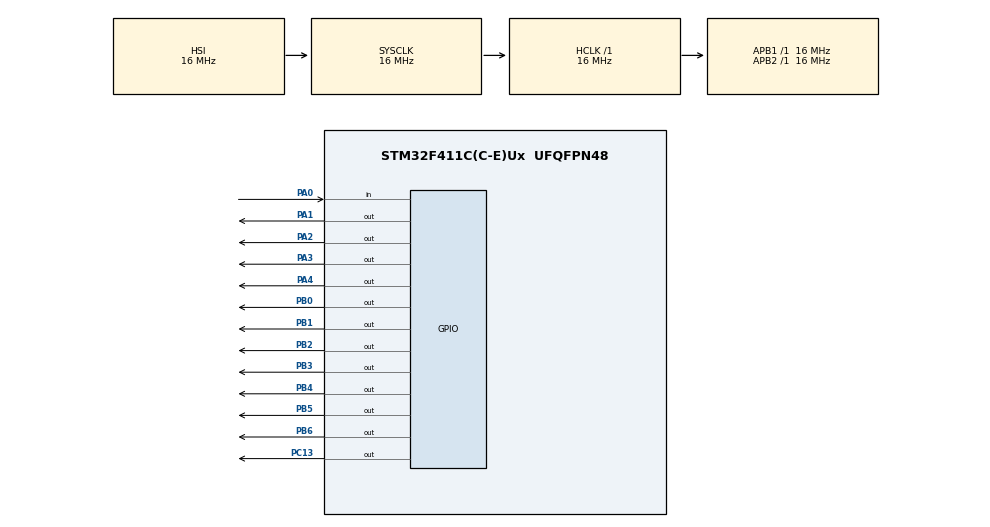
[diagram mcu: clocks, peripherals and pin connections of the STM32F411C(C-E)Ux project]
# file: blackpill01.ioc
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FREERTOS.Tasks01=defaultTask,24,128,StartDefaultTask,Default,NULL,Dynamic,NULL,NULL;readKey,16,128,StartReadKey,Default,NULL,Dynamic,NULL,NULL
FREERTOS.configUSE_NEWLIB_REENTRANT=1
Mcu.Family=STM32F4
Mcu.Name=STM32F411C(C-E)Ux
Mcu.Package=UFQFPN48
NVIC.PriorityGroup=NVIC_PRIORITYGROUP_4
PA0-WKUP.Signal=GPIO_Input
PA1.Signal=GPIO_Output
PA2.Signal=GPIO_Output
PA3.Signal=GPIO_Output
PA4.Signal=GPIO_Output
PB0.Signal=GPIO_Output
PB1.Signal=GPIO_Output
PB2.Signal=GPIO_Output
PB3.Signal=GPIO_Output
PB4.Signal=GPIO_Output
PB5.Signal=GPIO_Output
PB6.Signal=GPIO_Output
PC13-ANTI_TAMP.Signal=GPIO_Output
PC14-OSC32_IN.Mode=LSE-External-Oscillator
PC14-OSC32_IN.Signal=RCC_OSC32_IN
PC15-OSC32_OUT.Mode=LSE-External-Oscillator
PC15-OSC32_OUT.Signal=RCC_OSC32_OUT
PH0\ -\ OSC_IN.Mode=HSE-External-Oscillator
PH0\ -\ OSC_IN.Signal=RCC_OSC_IN
PH1\ -\ OSC_OUT.Mode=HSE-External-Oscillator
PH1\ -\ OSC_OUT.Signal=RCC_OSC_OUT
ProjectManager.HeapSize=0x200
ProjectManager.StackSize=0x400
ProjectManager.TargetToolchain=STM32CubeIDE
RCC.AHBFreq_Value=16000000
RCC.APB1Freq_Value=16000000
RCC.APB2Freq_Value=16000000
RCC.CortexFreq_Value=16000000
RCC.HSE_VALUE=25000000
RCC.HSI_VALUE=16000000
RCC.SYSCLKFreq_VALUE=16000000
RCC.VCOOutputFreq_Value=192000000
VP_FREERTOS_VS_CMSIS_V2.Mode=CMSIS_V2
board=custom

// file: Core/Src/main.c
/* USER CODE BEGIN Header */
/**
  ******************************************************************************
  * @file           : main.c
  * @brief          : Main program body
  ******************************************************************************
  * @attention
  *
  * Copyright (c) 2023 STMicroelectronics.
  * All rights reserved.
  *
  * This software is licensed under terms that can be found in the LICENSE file
  * in the root directory of this software component.
  * If no LICENSE file comes with this software, it is provided AS-IS.
  *
  ******************************************************************************
  */
/* USER CODE END Header */
#include "main.h"
#include "cmsis_os.h"

/* USER CODE BEGIN Includes */

#include <math.h>

/* USER CODE END Includes */

/* Definitions for defaultTask */
osThreadId_t defaultTaskHandle;
const osThreadAttr_t defaultTask_attributes = {
  .name = "defaultTask",
  .stack_size = 128 * 4,
  .priority = (osPriority_t) osPriorityNormal,
};
/* Definitions for readKey */
osThreadId_t readKeyHandle;
const osThreadAttr_t readKey_attributes = {
  .name = "readKey",
  .stack_size = 128 * 4,
  .priority = (osPriority_t) osPriorityBelowNormal,
};
/* USER CODE BEGIN PV */

int prev_value = 1;
int cur_value = 0;

/* USER CODE END PV */

void SystemClock_Config(void);
static void MX_GPIO_Init(void);
void StartDefaultTask(void *argument);
void StartReadKey(void *argument);

int main(void)
{

  /* MCU Configuration--------------------------------------------------------*/

  /* Reset of all peripherals, Initializes the Flash interface and the Systick. */
  HAL_Init();

  /* Configure the system clock */
  SystemClock_Config();

  /* Initialize all configured peripherals */
  MX_GPIO_Init();

  /* Init scheduler */
  osKernelInitialize();

  /* Create the thread(s) */
  /* creation of defaultTask */
  defaultTaskHandle = osThreadNew(StartDefaultTask, NULL, &defaultTask_attributes);

  /* creation of readKey */
  readKeyHandle = osThreadNew(StartReadKey, NULL, &readKey_attributes);

  /* Start scheduler */
  osKernelStart();

  /* We should never get here as control is now taken by the scheduler */
  /* Infinite loop */
  while (1)
  {

  }
}

void SystemClock_Config(void)
{
  RCC_OscInitTypeDef RCC_OscInitStruct = {0};
  RCC_ClkInitTypeDef RCC_ClkInitStruct = {0};

  /** Configure the main internal regulator output voltage
  */
  __HAL_RCC_PWR_CLK_ENABLE();
  __HAL_PWR_VOLTAGESCALING_CONFIG(PWR_REGULATOR_VOLTAGE_SCALE1);

  /** Initializes the RCC Oscillators according to the specified parameters
  * in the RCC_OscInitTypeDef structure.
  */
  RCC_OscInitStruct.OscillatorType = RCC_OSCILLATORTYPE_HSI;
  RCC_OscInitStruct.HSIState = RCC_HSI_ON;
  RCC_OscInitStruct.HSICalibrationValue = RCC_HSICALIBRATION_DEFAULT;
  RCC_OscInitStruct.PLL.PLLState = RCC_PLL_NONE;
  if (HAL_RCC_OscConfig(&RCC_OscInitStruct) != HAL_OK)
  {
    Error_Handler();
  }

  /** Initializes the CPU, AHB and APB buses clocks
  */
  RCC_ClkInitStruct.ClockType = RCC_CLOCKTYPE_HCLK|RCC_CLOCKTYPE_SYSCLK
                              |RCC_CLOCKTYPE_PCLK1|RCC_CLOCKTYPE_PCLK2;
  RCC_ClkInitStruct.SYSCLKSource = RCC_SYSCLKSOURCE_HSI;
  RCC_ClkInitStruct.AHBCLKDivider = RCC_SYSCLK_DIV1;
  RCC_ClkInitStruct.APB1CLKDivider = RCC_HCLK_DIV1;
  RCC_ClkInitStruct.APB2CLKDivider = RCC_HCLK_DIV1;

  if (HAL_RCC_ClockConfig(&RCC_ClkInitStruct, FLASH_LATENCY_0) != HAL_OK)
  {
    Error_Handler();
  }
}

static void MX_GPIO_Init(void)
{
  GPIO_InitTypeDef GPIO_InitStruct = {0};

  /* GPIO Ports Clock Enable */
  __HAL_RCC_GPIOC_CLK_ENABLE();
  __HAL_RCC_GPIOH_CLK_ENABLE();
  __HAL_RCC_GPIOA_CLK_ENABLE();
  __HAL_RCC_GPIOB_CLK_ENABLE();

  /*Configure GPIO pin Output Level */
  HAL_GPIO_WritePin(GPIOC, GPIO_PIN_13, GPIO_PIN_RESET);

  /*Configure GPIO pin Output Level */
  HAL_GPIO_WritePin(GPIOA, GPIO_PIN_1|GPIO_PIN_2|GPIO_PIN_3|GPIO_PIN_4, GPIO_PIN_RESET);

  /*Configure GPIO pin Output Level */
  HAL_GPIO_WritePin(GPIOB, GPIO_PIN_0|GPIO_PIN_1|GPIO_PIN_2|GPIO_PIN_3
                          |GPIO_PIN_4|GPIO_PIN_5|GPIO_PIN_6, GPIO_PIN_RESET);

  /*Configure GPIO pin : PC13 */
  GPIO_InitStruct.Pin = GPIO_PIN_13;
  GPIO_InitStruct.Mode = GPIO_MODE_OUTPUT_PP;
  GPIO_InitStruct.Pull = GPIO_NOPULL;
  GPIO_InitStruct.Speed = GPIO_SPEED_FREQ_LOW;
  HAL_GPIO_Init(GPIOC, &GPIO_InitStruct);

  /*Configure GPIO pin : PA0 */
  GPIO_InitStruct.Pin = GPIO_PIN_0;
  GPIO_InitStruct.Mode = GPIO_MODE_INPUT;
  GPIO_InitStruct.Pull = GPIO_NOPULL;
  HAL_GPIO_Init(GPIOA, &GPIO_InitStruct);

  /*Configure GPIO pins : PA1 PA2 PA3 PA4 */
  GPIO_InitStruct.Pin = GPIO_PIN_1|GPIO_PIN_2|GPIO_PIN_3|GPIO_PIN_4;
  GPIO_InitStruct.Mode = GPIO_MODE_OUTPUT_PP;
  GPIO_InitStruct.Pull = GPIO_NOPULL;
  GPIO_InitStruct.Speed = GPIO_SPEED_FREQ_LOW;
  HAL_GPIO_Init(GPIOA, &GPIO_InitStruct);

  /*Configure GPIO pins : PB0 PB1 PB2 PB3
                           PB4 PB5 PB6 */
  GPIO_InitStruct.Pin = GPIO_PIN_0|GPIO_PIN_1|GPIO_PIN_2|GPIO_PIN_3
                          |GPIO_PIN_4|GPIO_PIN_5|GPIO_PIN_6;
  GPIO_InitStruct.Mode = GPIO_MODE_OUTPUT_PP;
  GPIO_InitStruct.Pull = GPIO_NOPULL;
  GPIO_InitStruct.Speed = GPIO_SPEED_FREQ_LOW;
  HAL_GPIO_Init(GPIOB, &GPIO_InitStruct);

}

/* USER CODE BEGIN 4 */

void Write_Digit(int place, int digit) {
    int segment_index[] = {
        GPIO_PIN_0,
        GPIO_PIN_1,
        GPIO_PIN_2,
        GPIO_PIN_3,
        GPIO_PIN_4,
        GPIO_PIN_5,
        GPIO_PIN_6,
        GPIO_PIN_7,
        GPIO_PIN_8,
        GPIO_PIN_9
    };

    int place_index[] = {GPIO_PIN_1, GPIO_PIN_2, GPIO_PIN_3, GPIO_PIN_4};  // A1 to A4

    // select no digits first, so we can setup the segments and avoid bleed
    for (int p = 0; p < 4; p++)
        HAL_GPIO_WritePin(GPIOA, place_index[p], 0);

    int segment[10][7] = {
        { 1, 1, 1, 1, 1, 1, 0 },  // 0
        { 0, 1, 1, 0, 0, 0, 0 },  // 1
        { 1, 1, 0, 1, 1, 0, 1 },  // 2
        { 1, 1, 1, 1, 0, 0, 1 },  // 3
        { 0, 1, 1, 0, 0, 1, 1 },  // 4
        { 1, 0, 1, 1, 0, 1, 1 },  // 5
        { 1, 0, 1, 1, 1, 1, 1 },  // 6
        { 1, 1, 1, 0, 0, 0, 0 },  // 7
        { 1, 1, 1, 1, 1, 1, 1 },  // 8
        { 1, 1, 1, 0, 0, 1, 1 }   // 9
    };

    for (int s = 0; s < 10; s++) {
        HAL_GPIO_WritePin(GPIOB, segment_index[s], !segment[digit][s]);
    }

    // select digit for writing
    HAL_GPIO_WritePin(GPIOA, place_index[place], 1);

    HAL_Delay(2);  // 10 is too much, 4 works, 6 flickers, 5 tiny flicker
}

void LED_Show(int x) {
    for (double d = 0; d < 4; d++) {
        double pp = pow(10, d);

        int digit = (x / (int)(pp)) % 10;

        Write_Digit(3 - d, digit);
    }
}

/* USER CODE END 4 */

void StartDefaultTask(void *argument)
{
  /* USER CODE BEGIN 5 */
    /* Infinite loop */
    HAL_GPIO_TogglePin(GPIOC, GPIO_PIN_13);

    for(;;) {
        if (cur_value > 9999) {
            // reset
            prev_value = 1;
            cur_value = 0;
        }
        LED_Show(cur_value);
        osDelay(1);  // required to cede control so that other tasks may run (2 works)
    }
  /* USER CODE END 5 */
}

void StartReadKey(void *argument)
{
  /* USER CODE BEGIN StartReadKey */
  /* Infinite loop */
  for(;;) {
    HAL_Delay(100);  // 10 too short. 200 too long (100 works)

    int result = HAL_GPIO_ReadPin(GPIOA, GPIO_PIN_0);
    if (result == 0) {  // 0 == pressed
        HAL_GPIO_TogglePin(GPIOC, GPIO_PIN_13);  // blue LED shows for length of switch actuation

        // make the change immediately (fibonacci)
        int remember = cur_value;
        cur_value = cur_value + prev_value;
        prev_value = remember;

        while (result == 0) {  // but don't make the change again until next key press - debounce code
            result = HAL_GPIO_ReadPin(GPIOA, GPIO_PIN_0);
            HAL_Delay(50);
        }

        HAL_GPIO_TogglePin(GPIOC, GPIO_PIN_13);
    }
  }
  /* USER CODE END StartReadKey */
}

void Error_Handler(void)
{
  __disable_irq();
  while (1)
  {
  }
}
